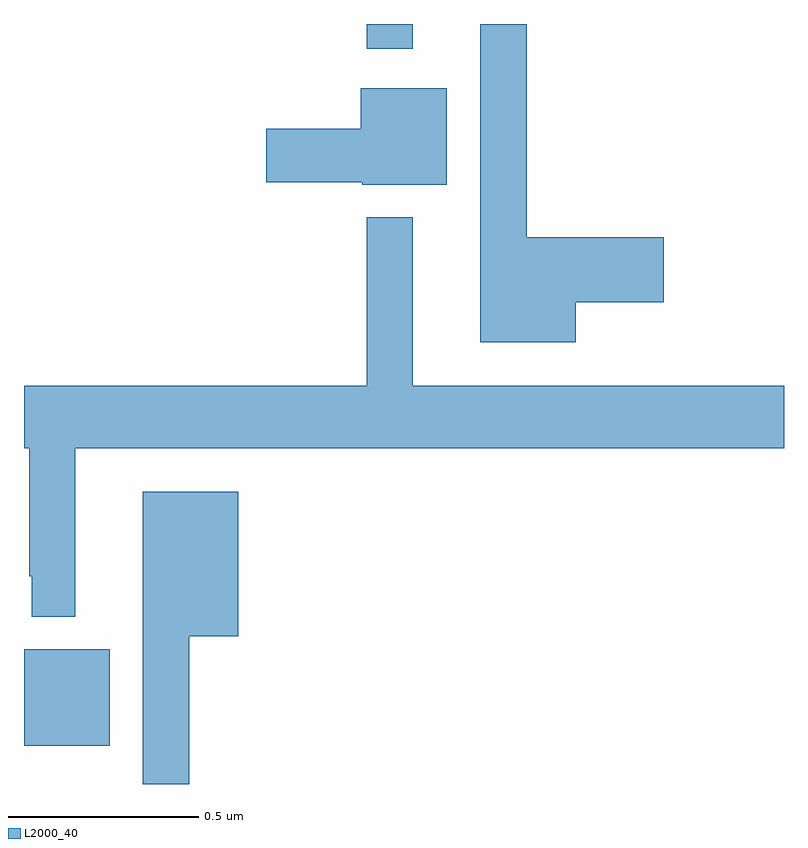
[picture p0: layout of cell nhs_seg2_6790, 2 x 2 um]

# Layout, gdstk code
import gdstk
lib = gdstk.Library(unit=1e-6, precision=1e-09)
def R(c, l, rs):  # rectangles x0, y0, x1, y1
    for r in rs: c.add(gdstk.rectangle(r[:2], r[2:], *l))
def P(c, l, *ps):  # polygons
    for p in ps: c.add(gdstk.Polygon(p, *l))
L2000_40 = (2000, 40)

nhs_seg2_6790 = lib.new_cell('nhs_seg2_6790')
R(nhs_seg2_6790, L2000_40, [(196,598.901,196.225,599.155), (196.902,600.735,197.023,600.8)])
P(nhs_seg2_6790, L2000_40, [(197.452,600.068),(197.683,600.068),(197.683,600.239),(197.323,600.239),(197.323,600.8),(197.201,600.8),(197.201,599.963),(197.452,599.963)],
  [(197.113,600.631),(196.886,600.631),(196.886,600.525),(196.638,600.525),(196.638,600.383),(196.89,600.383),(196.89,600.377),(197.113,600.377)],
  [(196,599.684),(196.014,599.684),(196.014,599.347),(196.02,599.347),(196.02,599.24),(196.135,599.24),(196.135,599.684),(198,599.684),(198,599.848),(197.023,599.848),(197.023,600.292),(196.902,600.292),(196.902,599.848),(196,599.848)],
  [(196.435,599.189),(196.564,599.189),(196.564,599.569),(196.313,599.569),(196.313,598.8),(196.435,598.8)])

lib.write_gds('nhs_seg2_6790.gds')
